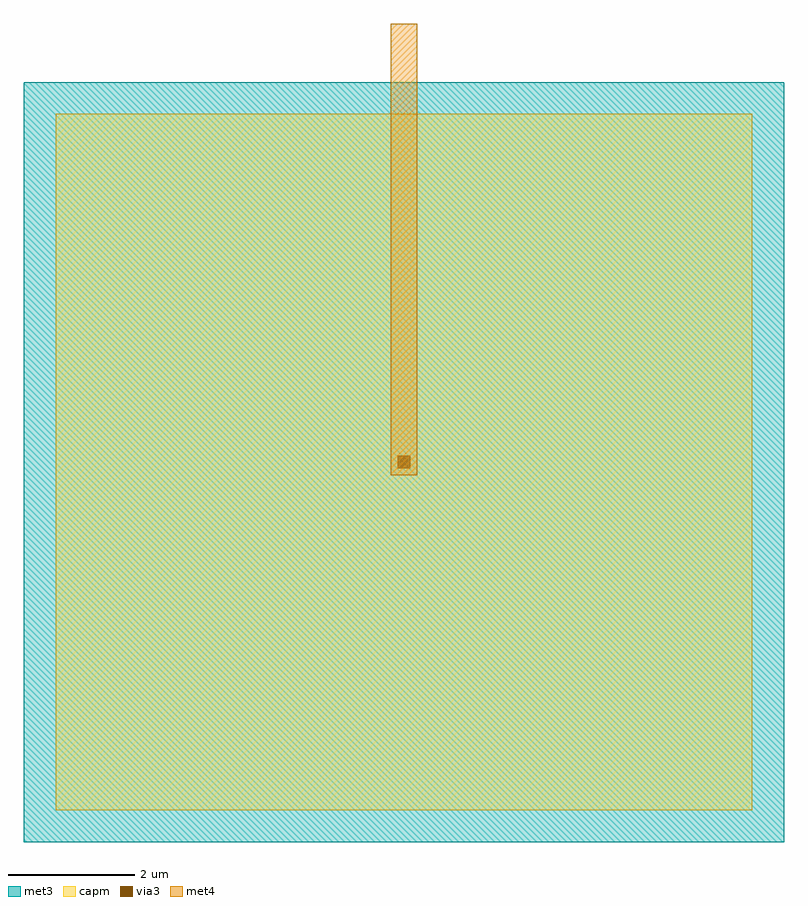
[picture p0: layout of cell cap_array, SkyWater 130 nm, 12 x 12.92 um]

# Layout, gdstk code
import gdstk
lib = gdstk.Library(unit=1e-6, precision=1e-09)
def R(c, l, rs):  # rectangles x0, y0, x1, y1
    for r in rs: c.add(gdstk.rectangle(r[:2], r[2:], *l))
met3 = (70, 20)
via3 = (70, 44)
met4 = (71, 20)
capm = (89, 44)

cap_array = lib.new_cell('cap_array')
R(cap_array, met3, [(0,0,12,12)])
R(cap_array, via3, [(5.9,5.9,6.1,6.1)])
R(cap_array, met4, [(5.79,5.79,6.21,6.21), (5.79,6.21,6.21,12.5), (5.79,12.5,6.21,12.92)])
R(cap_array, capm, [(0.5,0.5,11.5,11.5)])

lib.write_gds('cap_array.gds')
